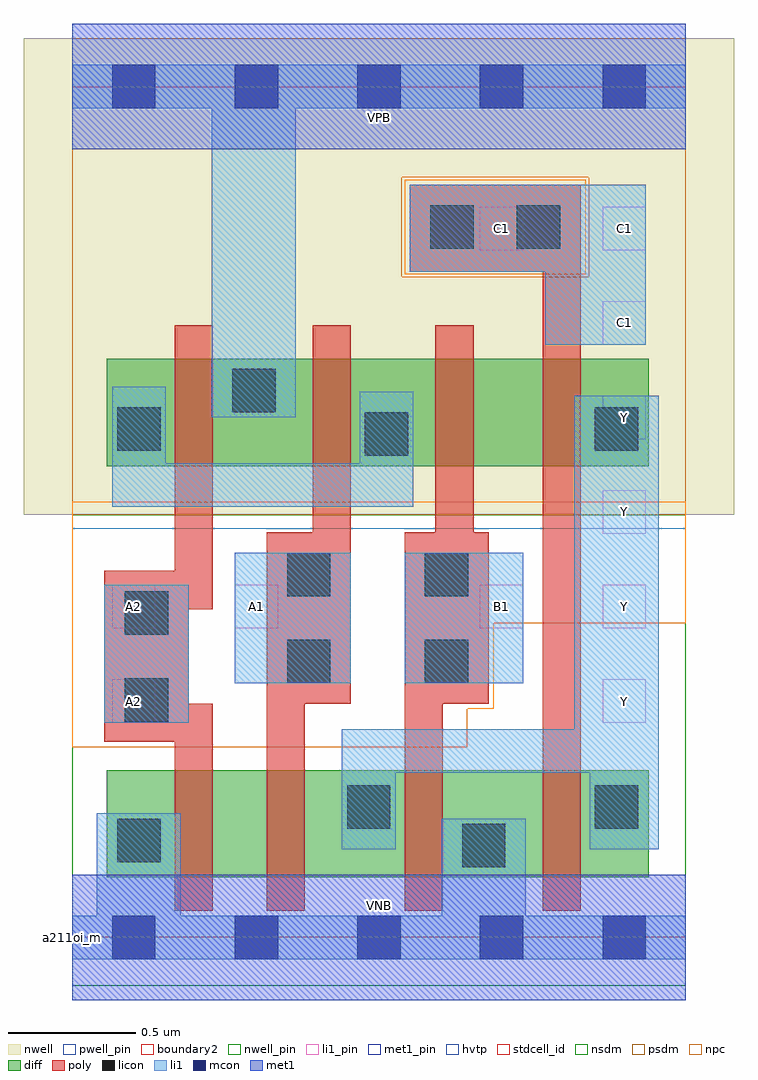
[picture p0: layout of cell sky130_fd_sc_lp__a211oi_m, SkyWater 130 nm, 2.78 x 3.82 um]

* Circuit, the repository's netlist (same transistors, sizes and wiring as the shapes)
* Copyright 2020 The SkyWater PDK Authors
*
* Licensed under the Apache License, Version 2.0 (the "License");
* you may not use this file except in compliance with the License.
* You may obtain a copy of the License at
*
*     https://www.apache.org/licenses/LICENSE-2.0
*
* Unless required by applicable law or agreed to in writing, software
* distributed under the License is distributed on an "AS IS" BASIS,
* WITHOUT WARRANTIES OR CONDITIONS OF ANY KIND, either express or implied.
* See the License for the specific language governing permissions and
* limitations under the License.
*
* SPDX-License-Identifier: Apache-2.0

.SUBCKT sky130_fd_sc_lp__a211oi_m A1 A2 B1 C1 VGND VNB VPB VPWR Y
*.PININFO A1:I A2:I B1:I C1:I VGND:I VNB:I VPB:I VPWR:I Y:O
MMPA0 pndA A1 VPWR VPB sky130_fd_pr__pfet_01v8_hvt m=1 w=0.42U l=0.15U mult=1 sa=0.265
+ sb=0.265 sd=0.28 area=0.063 perim=1.14
MMPA1 pndA A2 VPWR VPB sky130_fd_pr__pfet_01v8_hvt m=1 w=0.42U l=0.15U mult=1 sa=0.265
+ sb=0.265 sd=0.28 area=0.063 perim=1.14
MMPB0 pndB B1 pndA VPB sky130_fd_pr__pfet_01v8_hvt m=1 w=0.42U l=0.15U mult=1 sa=0.265
+ sb=0.265 sd=0.28 area=0.063 perim=1.14
MMPC0 Y C1 pndB VPB sky130_fd_pr__pfet_01v8_hvt m=1 w=0.42U l=0.15U mult=1 sa=0.265
+ sb=0.265 sd=0.28 area=0.063 perim=1.14
MMNA0 Y A1 sndA1 VNB sky130_fd_pr__nfet_01v8 m=1 w=0.42U l=0.15U mult=1 sa=0.265
+ sb=0.265 sd=0.28 area=0.063 perim=1.14
MMNA1 sndA1 A2 VGND VNB sky130_fd_pr__nfet_01v8 m=1 w=0.42U l=0.15U mult=1 sa=0.265
+ sb=0.265 sd=0.28 area=0.063 perim=1.14
MMNB0 Y B1 VGND VNB sky130_fd_pr__nfet_01v8 m=1 w=0.42U l=0.15U mult=1 sa=0.265
+ sb=0.265 sd=0.28 area=0.063 perim=1.14
MMNC0 Y C1 VGND VNB sky130_fd_pr__nfet_01v8 m=1 w=0.42U l=0.15U mult=1 sa=0.265
+ sb=0.265 sd=0.28 area=0.063 perim=1.14
.ENDS sky130_fd_sc_lp__a211oi_m

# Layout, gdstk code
import gdstk
lib = gdstk.Library(unit=1e-6, precision=1e-09)
def R(c, l, rs):  # rectangles x0, y0, x1, y1
    for r in rs: c.add(gdstk.rectangle(r[:2], r[2:], *l))
def A(c, l, x, y, w, h, nx, ny, dx, dy):  # array of equal rectangles
    R(c, l, [(x+i*dx, y+j*dy, x+i*dx+w, y+j*dy+h) for i in range(nx) for j in range(ny)])
def P(c, l, *ps):  # polygons
    for p in ps: c.add(gdstk.Polygon(p, *l))
nwell_pin = (64, 16)
nwell = (64, 20)
diff = (65, 20)
poly = (66, 20)
licon = (66, 44)
li1_pin = (67, 16)
li1 = (67, 20)
mcon = (67, 44)
met1_pin = (68, 16)
met1 = (68, 20)
hvtp = (78, 44)
stdcell_id = (81, 4)
nsdm = (93, 44)
psdm = (94, 20)
npc = (95, 20)
pwell_pin = (122, 16)
boundary2 = (236, 0)

sky130_fd_sc_lp__a211oi_ = lib.new_cell('sky130_fd_sc_lp__a211oi_m')
R(sky130_fd_sc_lp__a211oi_, nwell_pin, [(0,3.085,2.4,3.33)])
R(sky130_fd_sc_lp__a211oi_, nwell, [(-0.19,1.655,2.59,3.52)])
R(sky130_fd_sc_lp__a211oi_, diff, [(0.135,0.235,2.255,0.655), (0.135,1.845,2.255,2.265)])
P(sky130_fd_sc_lp__a211oi_, poly, [(0.55,0.915),(0.455,0.915),(0.455,1.285),(0.55,1.285),(0.55,2.395),(0.4,2.395),(0.4,1.435),(0.125,1.435),(0.125,0.765),(0.4,0.765),(0.4,0.105),(0.55,0.105)],
  [(1.09,2.395),(0.94,2.395),(0.94,1.585),(0.76,1.585),(0.76,0.105),(0.91,0.105),(0.91,0.915),(1.09,0.915)],
  [(1.63,1.585),(1.57,1.585),(1.57,2.395),(1.42,2.395),(1.42,1.585),(1.3,1.585),(1.3,0.105),(1.45,0.105),(1.45,0.915),(1.63,0.915)],
  [(1.99,2.945),(1.32,2.945),(1.32,2.605),(1.84,2.605),(1.84,0.105),(1.99,0.105)])
R(sky130_fd_sc_lp__a211oi_, licon, [(1.525,0.275,1.695,0.445), (0.175,0.295,0.345,0.465), (1.075,0.425,1.245,0.595), (2.045,0.425,2.215,0.595), (0.205,0.845,0.375,1.015), (0.84,0.995,1.01,1.165), (1.38,0.995,1.55,1.165), (0.205,1.185,0.375,1.355), (0.84,1.335,1.01,1.505), (1.38,1.335,1.55,1.505), (1.145,1.885,1.315,2.055), (0.175,1.905,0.345,2.075), (2.045,1.905,2.215,2.075), (0.625,2.055,0.795,2.225), (1.4,2.695,1.57,2.865), (1.74,2.695,1.91,2.865)])
A(sky130_fd_sc_lp__a211oi_, li1_pin, 2.075, 0.84, 0.17, 0.17, 1, 6, 0, 0.37)
R(sky130_fd_sc_lp__a211oi_, li1_pin, [(0.155,0.84,0.325,1.01), (0.155,1.21,0.325,1.38), (0.635,1.21,0.805,1.38), (1.595,1.21,1.765,1.38), (1.595,2.69,1.765,2.86)])
R(sky130_fd_sc_lp__a211oi_, li1, [(0.125,0.84,0.455,1.38), (0.635,0.995,1.09,1.505), (1.3,0.995,1.765,1.505)])
P(sky130_fd_sc_lp__a211oi_, li1, [(0.545,2.035),(0.545,3.245),(0,3.245),(0,3.415),(2.4,3.415),(2.4,3.245),(0.875,3.245),(0.875,2.035)],
  [(0.095,0.085),(0.095,0.485),(0.425,0.485),(0.425,0.085),(1.445,0.085),(1.445,0.465),(1.775,0.465),(1.775,0.085),(2.4,0.085),(2.4,-0.085),(0,-0.085),(0,0.085)],
  [(1.965,0.815),(1.965,2.12),(2.295,2.12),(2.295,0.345),(2.025,0.345),(2.025,0.645),(1.265,0.645),(1.265,0.345),(1.055,0.345),(1.055,0.815)],
  [(2.245,2.945),(1.32,2.945),(1.32,2.605),(1.85,2.605),(1.85,2.32),(2.245,2.32)],
  [(0.365,1.855),(1.125,1.855),(1.125,2.135),(1.335,2.135),(1.335,1.685),(0.155,1.685),(0.155,2.155),(0.365,2.155)])
A(sky130_fd_sc_lp__a211oi_, mcon, 0.155, -0.085, 0.17, 0.17, 5, 2, 0.48, 3.33)
R(sky130_fd_sc_lp__a211oi_, met1_pin, [(0,0,2.4,0.245), (0,3.085,2.4,3.33)])
R(sky130_fd_sc_lp__a211oi_, met1, [(0,-0.245,2.4,0.245), (0,3.085,2.4,3.575)])
R(sky130_fd_sc_lp__a211oi_, hvtp, [(0,1.6,2.4,3.33)])
R(sky130_fd_sc_lp__a211oi_, stdcell_id, [(0,0,2.4,3.33)])
R(sky130_fd_sc_lp__a211oi_, nsdm, [(0,-0.19,2.4,1.655)])
P(sky130_fd_sc_lp__a211oi_, psdm, [(2.4,2.585),(1.29,2.585),(1.29,2.975),(2.02,2.975),(2.02,2.585),(2.4,2.585),(2.4,3.52),(0,3.52),(0,1.655),(2.4,1.655)])
R(sky130_fd_sc_lp__a211oi_, npc, [(1.3,2.595,2.01,2.965)])
P(sky130_fd_sc_lp__a211oi_, npc, [(2.4,1.705),(0,1.705),(0,0.745),(1.545,0.745),(1.545,0.895),(1.65,0.895),(1.65,1.23),(2.4,1.23)])
R(sky130_fd_sc_lp__a211oi_, pwell_pin, [(0,0,2.4,0.245)])
R(sky130_fd_sc_lp__a211oi_, boundary2, [(0,0,2.4,3.33)])
sky130_fd_sc_lp__a211oi_.add(gdstk.Label('VNB', (1.2,0.123), layer=64, texttype=59))
sky130_fd_sc_lp__a211oi_.add(gdstk.Label('VPB', (1.2,3.208), layer=64, texttype=5))
sky130_fd_sc_lp__a211oi_.add(gdstk.Label('a211oi_m', (0,0), layer=83, texttype=44))
sky130_fd_sc_lp__a211oi_.add(gdstk.Label('VPWR', (1.2,3.208), layer=68, texttype=5))
sky130_fd_sc_lp__a211oi_.add(gdstk.Label('VGND', (1.2,0.123), layer=68, texttype=5))
sky130_fd_sc_lp__a211oi_.add(gdstk.Label('A1', (0.72,1.295), layer=67, texttype=5))
sky130_fd_sc_lp__a211oi_.add(gdstk.Label('Y', (2.16,0.925), layer=67, texttype=5))
sky130_fd_sc_lp__a211oi_.add(gdstk.Label('Y', (2.16,1.295), layer=67, texttype=5))
sky130_fd_sc_lp__a211oi_.add(gdstk.Label('Y', (2.16,1.665), layer=67, texttype=5))
sky130_fd_sc_lp__a211oi_.add(gdstk.Label('Y', (2.16,2.035), layer=67, texttype=5))
sky130_fd_sc_lp__a211oi_.add(gdstk.Label('A2', (0.24,0.925), layer=67, texttype=5))
sky130_fd_sc_lp__a211oi_.add(gdstk.Label('A2', (0.24,1.295), layer=67, texttype=5))
sky130_fd_sc_lp__a211oi_.add(gdstk.Label('B1', (1.68,1.295), layer=67, texttype=5))
sky130_fd_sc_lp__a211oi_.add(gdstk.Label('C1', (2.16,2.405), layer=67, texttype=5))
sky130_fd_sc_lp__a211oi_.add(gdstk.Label('C1', (2.16,2.775), layer=67, texttype=5))
sky130_fd_sc_lp__a211oi_.add(gdstk.Label('C1', (1.68,2.775), layer=67, texttype=5))

lib.write_gds('sky130_fd_sc_lp__a211oi_m.gds')
